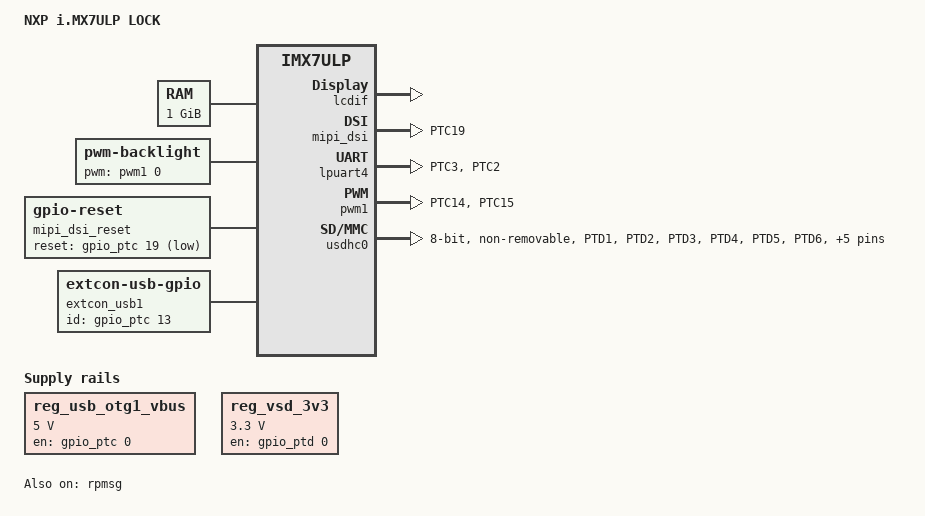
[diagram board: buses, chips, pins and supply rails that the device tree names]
/*
 * Copyright 2016 Freescale Semiconductor, Inc.
 * Copyright 2017 NXP.
 *
 * This program is free software; you can redistribute it and/or modify
 * it under the terms of the GNU General Public License version 2 as
 * published by the Free Software Foundation.
 */

/dts-v1/;

#include "imx7ulp.dtsi"
#include <dt-bindings/input/input.h>

/ {
	model = "NXP i.MX7ULP LOCK";
	compatible = "fsl,imx7ulp-lock", "fsl,imx7ulp", "Generic DT based system";


	chosen {
		stdout-path = &lpuart4;
	};

	memory {
		device_type = "memory";
		reg = <0x60000000 0x40000000>;
	};

	backlight {
		compatible = "pwm-backlight";
		pwms = <&pwm1 0 5000000>;
		brightness-levels = <0 20 25 30 35 40 100>;
		default-brightness-level = <6>;
		status = "okay";
	};

	cam_led {
		compatible = "pwm-backlight";
		pwms = <&pwm1 1 5000000>;
		brightness-levels = <0 4 8 16 32 64 128 255>;
		default-brightness-level = <1>;
		status = "disabled";
	};

	mipi_dsi_reset: mipi-dsi-reset {
		compatible = "gpio-reset";
		reset-gpios = <&gpio_ptc 19 GPIO_ACTIVE_LOW>;
		reset-delay-us = <1000>;
		#reset-cells = <0>;
		status = "ok";
	};

	regulators {
		compatible = "simple-bus";
		#address-cells = <1>;
		#size-cells = <0>;

		reg_usb_otg1_vbus: regulator@0 {
			compatible = "regulator-fixed";
			reg = <0>;
			pinctrl-names = "default", "sleep";
			pinctrl-0 = <&pinctrl_usb_otg1>;
			pinctrl-1 = <&pinctrl_usb_otg1>;
			regulator-name = "usb_otg1_vbus";
			regulator-min-microvolt = <5000000>;
			regulator-max-microvolt = <5000000>;
			gpio = <&gpio_ptc 0 GPIO_ACTIVE_HIGH>;
			enable-active-high;
		};

		reg_vsd_3v3: regulator@1 {
			compatible = "regulator-fixed";
			reg = <1>;
			regulator-name = "VSD_3V3";
			regulator-min-microvolt = <3300000>;
			regulator-max-microvolt = <3300000>;
			gpio = <&gpio_ptd 0 GPIO_ACTIVE_HIGH>;
			enable-active-high;
		};

	};

	extcon_usb1: extcon_usb1 {
		compatible = "linux,extcon-usb-gpio";
		id-gpio = <&gpio_ptc 13 GPIO_ACTIVE_HIGH>;
		pinctrl-names = "default", "sleep";
		pinctrl-0 = <&pinctrl_extcon_usb1>;
		pinctrl-1 = <&pinctrl_extcon_usb1>;
	};

	pf1550-rpmsg {
		compatible = "fsl,pf1550-rpmsg";
		sw1_reg: SW1 {
				regulator-name = "SW1";
				regulator-min-microvolt = <600000>;
				regulator-max-microvolt = <1387500>;
				regulator-boot-on;
				regulator-always-on;
		};

		sw2_reg: SW2 {
				regulator-name = "SW2";
				regulator-min-microvolt = <600000>;
				regulator-max-microvolt = <1387500>;
				regulator-boot-on;
				regulator-always-on;
		};

		sw3_reg: SW3 {
				regulator-name = "SW3";
				regulator-min-microvolt = <1800000>;
				regulator-max-microvolt = <3300000>;
				regulator-boot-on;
				regulator-always-on;
		};

		vref_reg: VREFDDR {
				regulator-name = "VREFDDR";
				regulator-min-microvolt = <1200000>;
				regulator-max-microvolt = <1200000>;
				regulator-boot-on;
				regulator-always-on;
		};

		vldo1_reg: LDO1 {
				regulator-name = "LDO1";
				regulator-min-microvolt = <750000>;
				regulator-max-microvolt = <3300000>;
				regulator-always-on;
		};

		vldo2_reg: LDO2 {
				regulator-name = "LDO2";
				regulator-min-microvolt = <1800000>;
				regulator-max-microvolt = <3300000>;
				regulator-always-on;
		};

		vldo3_reg: LDO3 {
				regulator-name = "LDO3";
				regulator-min-microvolt = <750000>;
				regulator-max-microvolt = <3300000>;
				regulator-always-on;
		};
	};

	rpmsg_keys: rpmsg-keys {
		compatible = "fsl,rpmsg-keys";

		power-on {
			label = "PowerOn";
			linux,code = <KEY_POWER>;
			rpmsg-key,wakeup;
		};
	};

};

&cpu0 {
	arm-supply= <&sw1_reg>;
};

&iomuxc1 {
	pinctrl-names = "default";
	pinctrl-0 = <&pinctrl_hog_1>;

	imx7ulp-lock {
		pinctrl_hog_1: hoggrp-1 {
			fsl,pins = <
				IMX7ULP_PAD_PTC1__PTC1		0x20000
				IMX7ULP_PAD_PTF1__PTF1		0x20000
				IMX7ULP_PAD_PTF16__PTF16	0x20000
				IMX7ULP_PAD_PTF18__PTF18	0x20000
			>;
		};

		pinctrl_pwm_backlight: pwm_backlight_grp {
			fsl,pins = <
				IMX7ULP_PAD_PTC14__TPM7_CH0	0x3
			>;
		};

		pinctrl_pwm_led: pwm_led_grp {
			fsl,pins = <
				IMX7ULP_PAD_PTC15__TPM7_CH1	0x3
			>;
		};

		pinctrl_lpi2c5: lpi2c5grp {
			fsl,pins = <
				IMX7ULP_PAD_PTC4__LPI2C5_SCL		0x27
				IMX7ULP_PAD_PTC5__LPI2C5_SDA		0x27
				IMX7ULP_PAD_PTC6__LPI2C5_HREQ		0x27
			>;
		};

		pinctrl_lpi2c7: lpi2c7grp {
			fsl,pins = <
				IMX7ULP_PAD_PTE12__LPI2C7_SCL		0x27
				IMX7ULP_PAD_PTE13__LPI2C7_SDA		0x27
				IMX7ULP_PAD_PTE14__LPI2C7_HREQ		0x27
			>;
		};

                pinctrl_lpi2c7_sleep: lpi2c7_sleep_grp {
                        fsl,pins = <
                                IMX7ULP_PAD_PTE12__PTE12                0x20027
                                IMX7ULP_PAD_PTE13__PTE13                0x20027
                                IMX7ULP_PAD_PTE14__PTE14                0x20027
                        >;
                };

		pinctrl_mipi_dsi_reset: mipi_dsi_reset_grp {
			fsl,pins = <
				IMX7ULP_PAD_PTC19__PTC19	0x20003
			>;
		};

		pinctrl_lpuart4: lpuart4grp {
			fsl,pins = <
				IMX7ULP_PAD_PTC3__LPUART4_RX	0x3
				IMX7ULP_PAD_PTC2__LPUART4_TX	0x3
			>;
		};

		pinctrl_usb_otg1: usbotg1grp {
			fsl,pins = <
				IMX7ULP_PAD_PTC0__PTC0		0x20000
			>;
		};

		pinctrl_extcon_usb1: extcon1grp {
			fsl,pins = <
				IMX7ULP_PAD_PTC13__PTC13	0x10003
			>;
		};

		pinctrl_usdhc0_8bit: usdhc0grp_8bit {
			fsl,pins = <
				IMX7ULP_PAD_PTD1__SDHC0_CMD	0x43
				IMX7ULP_PAD_PTD2__SDHC0_CLK	0x10042
				IMX7ULP_PAD_PTD3__SDHC0_D7	0x43
				IMX7ULP_PAD_PTD4__SDHC0_D6	0x43
				IMX7ULP_PAD_PTD5__SDHC0_D5	0x43
				IMX7ULP_PAD_PTD6__SDHC0_D4	0x43
				IMX7ULP_PAD_PTD7__SDHC0_D3	0x43
				IMX7ULP_PAD_PTD8__SDHC0_D2	0x43
				IMX7ULP_PAD_PTD9__SDHC0_D1	0x43
				IMX7ULP_PAD_PTD10__SDHC0_D0	0x43
				IMX7ULP_PAD_PTD11__SDHC0_DQS	0x42
			>;
		};

		pinctrl_camera: camera_grp {
			fsl,pins = <
				IMX7ULP_PAD_PTF0__PTF0		0x20043  /*CAMERA ENABLE*/
				IMX7ULP_PAD_PTE6__PTE6		0x20043  /*CAMERA RESET */
				IMX7ULP_PAD_PTF3__VIU_PCLK	0x10043  /*CAMEAR PCLK  */
				IMX7ULP_PAD_PTF6__VIU_D2	0x43
				IMX7ULP_PAD_PTF7__VIU_D3	0x43
				IMX7ULP_PAD_PTF8__VIU_D4	0x43
				IMX7ULP_PAD_PTF9__VIU_D5	0x43
				IMX7ULP_PAD_PTF10__VIU_D6	0x43
				IMX7ULP_PAD_PTF11__VIU_D7	0x43
				IMX7ULP_PAD_PTF12__VIU_D8	0x43
				IMX7ULP_PAD_PTF13__VIU_D9	0x43
			>;
		};

	};
};

&lcdif {
	status = "okay";
	disp-dev = "mipi_dsi_northwest";
	display = <&display0>;

	display0: display@0 {
		bits-per-pixel = <16>;
		bus-width = <24>;

		display-timings {
			native-mode = <&timing0>;
			timing0: timing0 {
			clock-frequency = <9200000>;
			hactive = <480>;
			vactive = <272>;
			hfront-porch = <8>;
			hback-porch = <4>;
			hsync-len = <41>;
			vback-porch = <2>;
			vfront-porch = <4>;
			vsync-len = <10>;

			hsync-active = <0>;
			vsync-active = <0>;
			de-active = <1>;
			pixelclk-active = <0>;
			};
		};
	};
};

&mipi_dsi {
	pinctrl-names = "default", "sleep";
	pinctrl-0 = <&pinctrl_mipi_dsi_reset>;
	pinctrl-1 = <&pinctrl_mipi_dsi_reset>;
	lcd_panel = "TRULY-WVGA-TFT3P5581E";
	resets = <&mipi_dsi_reset>;
	status = "okay";
};

&lpuart4 { /* console */
	pinctrl-names = "default", "sleep";
	pinctrl-0 = <&pinctrl_lpuart4>;
	pinctrl-1 = <&pinctrl_lpuart4>;
	status = "okay";
};

&pwm1 {
	pinctrl-names = "default", "sleep";
	pinctrl-0 = <&pinctrl_pwm_backlight &pinctrl_pwm_led>;
	pinctrl-1 = <&pinctrl_pwm_backlight &pinctrl_pwm_led>;
	status = "okay";
};

&rpmsg{
	/*
	 * 64K for one rpmsg instance, default using 2 rpmsg instances:
	 * --0x9FF00000~0x9FF0FFFF: pmic,pm,audio,keys,gpio,sensor
	 * --0x9FF10000~0x9FF1FFFF: pingpong,virtual tty
	 */
	vdev-nums = <1>;
	reg = <0x9FF00000 0x20000>;
	status = "okay";
};

&usdhc0 {
	pinctrl-names = "default", "state_100mhz", "state_200mhz", "sleep";
	pinctrl-0 = <&pinctrl_usdhc0_8bit>;
	pinctrl-1 = <&pinctrl_usdhc0_8bit>;
	pinctrl-2 = <&pinctrl_usdhc0_8bit>;
	pinctrl-3 = <&pinctrl_usdhc0_8bit>;
	non-removable;
	bus-width = <8>;
	status = "okay";
};
